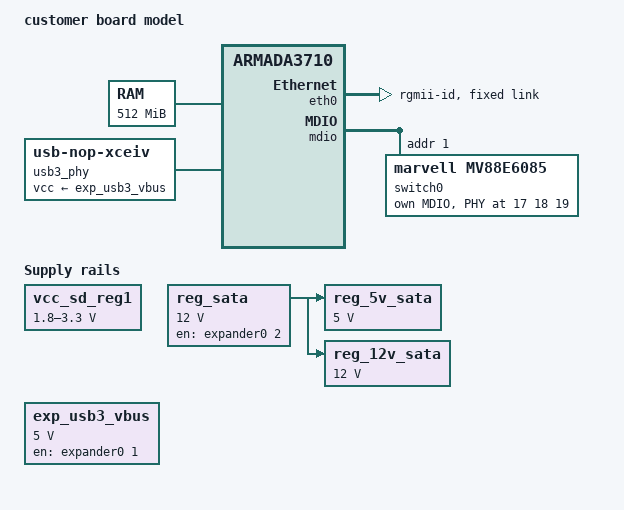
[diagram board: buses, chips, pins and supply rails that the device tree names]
/*
 * Device Tree file for Marvell Armada 3720 development board
 * (DB-88F3720-DDR3)
 * Copyright (C) 2016 Marvell
 *
 * Gregory CLEMENT <gregory.clement@free-electrons.com>
 *
 * This file is dual-licensed: you can use it either under the terms
 * of the GPL or the X11 license, at your option. Note that this dual
 * licensing only applies to this file, and not this project as a
 * whole.
 *
 *  a) This file is free software; you can redistribute it and/or
 *     modify it under the terms of the GNU General Public License as
 *     published by the Free Software Foundation; either version 2 of the
 *     License, or (at your option) any later version.
 *
 *     This file is distributed in the hope that it will be useful
 *     but WITHOUT ANY WARRANTY; without even the implied warranty of
 *     MERCHANTABILITY or FITNESS FOR A PARTICULAR PURPOSE.  See the
 *     GNU General Public License for more details.
 *
 * Or, alternatively
 *
 *  b) Permission is hereby granted, free of charge, to any person
 *     obtaining a copy of this software and associated documentation
 *     files (the "Software"), to deal in the Software without
 *     restriction, including without limitation the rights to use
 *     copy, modify, merge, publish, distribute, sublicense, and/or
 *     sell copies of the Software, and to permit persons to whom the
 *     Software is furnished to do so, subject to the following
 *     conditions:
 *
 *     The above copyright notice and this permission notice shall be
 *     included in all copies or substantial portions of the Software.
 *
 *     THE SOFTWARE IS PROVIDED , WITHOUT WARRANTY OF ANY KIND
 *     EXPRESS OR IMPLIED, INCLUDING BUT NOT LIMITED TO THE WARRANTIES
 *     OF MERCHANTABILITY, FITNESS FOR A PARTICULAR PURPOSE AND
 *     NONINFRINGEMENT. IN NO EVENT SHALL THE AUTHORS OR COPYRIGHT
 *     HOLDERS BE LIABLE FOR ANY CLAIM, DAMAGES OR OTHER LIABILITY
 *     WHETHER IN AN ACTION OF CONTRACT, TORT OR OTHERWISE, ARISING
 *     FROM, OUT OF OR IN CONNECTION WITH THE SOFTWARE OR THE USE OR
 *     OTHER DEALINGS IN THE SOFTWARE.
 */

/*
 * Example device tree for Armada 3700
 * Customer may use this file as a reference.
 * Each field that needs to be update (phys, mpps, addresses, frequencies)
 * is marked with "UPDATE" comment.
 *
 * NOTE: all interfaces are disabled!
 *
 * Refer to ./Documentation/mvebu/porting_guide.txt for for information
 */
/dts-v1/;

/* UPDATE
 * Include one of the following dtsi files:
 *	armada-372x.dtsi - used for dual core
 *	armada-371x.dtsi - used for single core
 */
#include "armada-372x.dtsi"

/ {
	/* UPDATE */
	model = "customer board model";
	/* UPDATE
	 * marvell,armada3720 - used for dual core
	 * marvell,armada3710 - used for single core
	 * NOTE: The compatile MUST match the included *.dtsi file
	 */
	compatible = "customer-board-compatible", "marvell,armada3720", "marvell,armada3710";

	chosen {
		stdout-path = "serial0:115200n8";
	};

	/* UPDATE */
	memory {
		device_type = "memory";
		reg = <0x00000000 0x00000000 0x00000000 0x20000000>;
	};

	soc {
		internal-regs {
			i2c0: i2c@11000 {
				status = "disabled";
				/* UPDATE */
				expander0: pca9555@22 {
					compatible = "nxp,pca9555";
					reg = <0x22>;
					gpio-controller;
					#gpio-cells = <2>;
				};
			};

			i2c1: i2c@11080 {
				status = "disabled";
			};

			/*
			* Exported on the micro USB connector CON32
			* through an FTDI
			*/
			uart0: serial@12000 {
				status = "disabled";
			};

			eth0: ethernet@30000 {
				/* UPDATE */
				phy-mode = "rgmii-id";
				status = "okay";
				fixed-link {
					speed = <1000>;
					full-duplex;
				};
			};

			mdio: mdio@32004 {
				/* UPDATE */
				switch0: switch@0 {
					compatible = "marvell,mv88e6085";
					reg = <1>;

					mdio@0 {
						#address-cells = <1>;
						#size-cells = <0>;

						phy1: phy1@1 {
							reg = <17>;
						};
						phy2: phy2@2 {
							reg = <18>;
						};
						phy3: phy3@3 {
							reg = <19>;
						};
					};
				};
			};

			u3d@50000 {
				status = "disabled";
			};

			udc@54100 {
				status = "disabled";
			};

			/* CON31 */
			usb3@58000 {
				status = "disabled";
				usb-phy = <&usb3_phy>;
			};

			usb@5e000 {
				status = "disabled";
			};

			interrupt-controller@74840 {
				status = "disabled";
			};

			sdhci1: sdhci@d0000 {
				wp-inverted;
				bus-width = <4>;
				cd-gpios = <&gpiosb 2 GPIO_ACTIVE_LOW>;
				vqmmc-supply = <&vcc_sd_reg1>;
				marvell,pad-type = "sd";
				status = "disabled";
				/* UPDATE */
				pinctrl-names = "default";
				pinctrl-0 = <&sdio_pins>;
			};

			sdhci0: sdhci@d8000 {
				marvell,pad-type = "fixed-1-8v";
				marvell,xenon-tun-count = <9>;
				non-removable;
				bus-width = <8>;
				status = "disabled";
				/* UPDATE */
				pinctrl-names = "default";
				pinctrl-0 = <&mmc_pins>;
			};

			/* CON3 */
			sata@e0000 {
				target-supply = <&reg_5v_sata>;
				status = "disabled";
			};
			vcc_sd_reg1: regulator@0 {
				compatible = "regulator-gpio";
				regulator-name = "vcc_sd1";
				regulator-min-microvolt = <1800000>;
				regulator-max-microvolt = <3300000>;
				regulator-boot-on;

				gpios = <&gpiosb 23 GPIO_ACTIVE_HIGH>;
				gpios-states = <0>;
				states = <1800000 0x1 3300000 0x0>;
				enable-active-high;
			};
		};

		reg_sata: pwr-sata {
			compatible = "regulator-fixed";
			regulator-name = "pwr_en_sata";
			regulator-min-microvolt = <12000000>;
			regulator-max-microvolt = <12000000>;
			enable-active-high;
			regulator-boot-on;
			gpio = <&expander0 2 GPIO_ACTIVE_HIGH>;
		};

		reg_5v_sata: v5-sata {
			compatible = "regulator-fixed";
			regulator-name = "v5.0-sata";
			regulator-min-microvolt = <5000000>;
			regulator-max-microvolt = <5000000>;
			vin-supply = <&reg_sata>;
		};

		reg_12v_sata: v12-sata {
			compatible = "regulator-fixed";
			regulator-name = "v12.0-sata";
			regulator-min-microvolt = <12000000>;
			regulator-max-microvolt = <12000000>;
			vin-supply = <&reg_sata>;
		};

	};
	dsa@0 {
		compatible = "marvell,dsa";
		dsa,ethernet = <&eth0>;
		dsa,mii-bus = <&mdio>;
		#address-cells = <2>;
		#size-cells = <0>;

		switch@0 {
			#address-cells = <1>;
			#size-cells = <0>;
			reg = <1 0>;
			/* UPDATE */
			port@0 {
				reg = <0>;
				label = "cpu";
				fixed-link {
					speed = <1000>;
					full-duplex;
				};
			};

			port@1 {
				reg = <1>;
				label = "wan";
				phy-handle = <&phy1>;
			};

			port@2 {
				reg = <2>;
				label = "lan0";
				phy-handle = <&phy2>;
			};

			port@3 {
			reg = <3>;
				label = "lan1";
				phy-handle = <&phy3>;
			};
		};
	};
	usb3_phy: usb3-phy {
		compatible = "usb-nop-xceiv";
		vcc-supply = <&exp_usb3_vbus>;
	};

	exp_usb3_vbus: usb3-vbus {
		compatible = "regulator-fixed";
		regulator-name = "usb3-vbus";
		regulator-min-microvolt = <5000000>;
		regulator-max-microvolt = <5000000>;
		enable-active-high;
		regulator-always-on;
		gpio = <&expander0 1 GPIO_ACTIVE_HIGH>;
	};
};

/* CON17 (PCIe) / CON12 (mini-PCIe) */
&pcie0 {
	status = "disabled";
};
